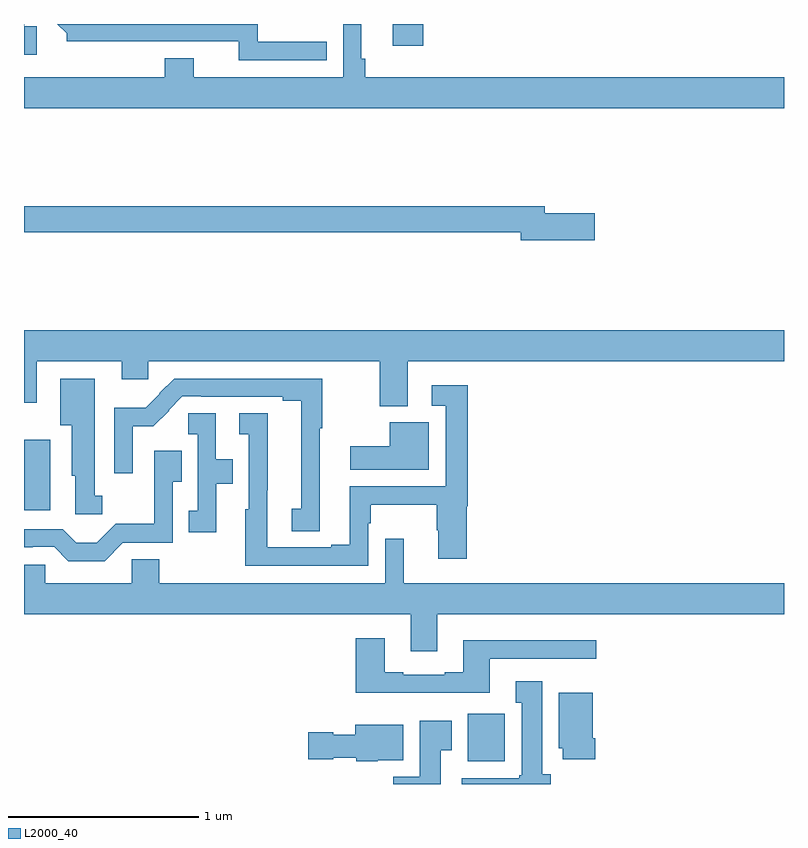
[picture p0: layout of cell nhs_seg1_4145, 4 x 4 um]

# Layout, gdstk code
import gdstk
lib = gdstk.Library(unit=1e-6, precision=1e-09)
def R(c, l, rs):  # rectangles x0, y0, x1, y1
    for r in rs: c.add(gdstk.rectangle(r[:2], r[2:], *l))
def P(c, l, *ps):  # polygons
    for p in ps: c.add(gdstk.Polygon(p, *l))
L2000_40 = (2000, 40)

nhs_seg1_4145 = lib.new_cell('nhs_seg1_4145')
R(nhs_seg1_4145, L2000_40, [(339.335,524.318,339.531,524.569), (337,525.641,337.138,526.012), (338.942,528.084,339.101,528.199)])
P(nhs_seg1_4145, L2000_40, [(338.594,528.105),(338.23,528.105),(338.23,528.199),(337.176,528.199),(337.224,528.151),(337.224,528.107),(337.658,528.107),(337.658,528.108),(338.131,528.108),(338.131,528.009),(338.594,528.009)],
  [(337.067,528.187),(337.002,528.187),(337.002,528.199),(337,528.199),(337,528.036),(337.067,528.036)],
  [(341,527.92),(338.795,527.92),(338.795,528.016),(338.776,528.016),(338.776,528.199),(338.679,528.199),(338.679,527.92),(337.894,527.92),(337.894,528.019),(337.742,528.019),(337.742,527.92),(337,527.92),(337,527.756),(341,527.756)],
  [(340.003,527.204),(339.742,527.204),(339.742,527.24),(337,527.24),(337,527.104),(339.614,527.104),(339.614,527.062),(340.003,527.062)],
  [(337,526.206),(337.068,526.206),(337.068,526.424),(337.514,526.424),(337.514,526.329),(337.653,526.329),(337.653,526.424),(338.872,526.424),(338.872,526.187),(339.019,526.187),(339.019,526.424),(341,526.424),(341,526.588),(337,526.588)],
  [(337.413,525.717),(337.372,525.717),(337.372,526.333),(337.19,526.333),(337.19,526.088),(337.25,526.088),(337.25,525.822),(337.271,525.822),(337.271,525.618),(337.413,525.618)],
  [(338.557,526.072),(338.569,526.072),(338.569,526.332),(337.79,526.332),(337.712,526.255),(337.715,526.253),(337.642,526.18),(337.476,526.18),(337.476,525.834),(337.572,525.834),(337.572,526.082),(337.681,526.082),(337.764,526.164),(337.761,526.167),(337.833,526.239),(337.933,526.239),(337.933,526.236),(338.363,526.236),(338.363,526.216),(338.459,526.216),(338.459,525.648),(338.409,525.648),(338.409,525.529),(338.557,525.529)],
  [(338.811,525.572),(338.824,525.572),(338.824,525.668),(339.172,525.668),(339.172,525.534),(339.179,525.534),(339.179,525.384),(339.329,525.384),(339.329,525.662),(339.335,525.662),(339.335,526.297),(339.147,526.297),(339.147,526.191),(339.219,526.191),(339.219,525.765),(338.714,525.765),(338.714,525.457),(338.618,525.457),(338.618,525.444),(338.28,525.444),(338.28,525.745),(338.282,525.745),(338.282,526.151),(338.133,526.151),(338.133,526.04),(338.184,526.04),(338.184,525.645),(338.165,525.645),(338.165,525.348),(338.811,525.348)],
  [(338.011,525.778),(338.099,525.778),(338.099,525.907),(338.01,525.907),(338.01,526.151),(337.865,526.151),(337.865,526.04),(337.914,526.04),(337.914,525.638),(337.867,525.638),(337.867,525.525),(338.011,525.525)],
  [(339.13,526.102),(338.924,526.102),(338.924,525.976),(338.718,525.976),(338.718,525.854),(339.13,525.854)],
  [(337.521,525.468),(337.782,525.468),(337.782,525.791),(337.829,525.791),(337.829,525.952),(337.686,525.952),(337.686,525.569),(337.484,525.569),(337.384,525.469),(337.274,525.469),(337.203,525.54),(337,525.54),(337,525.444),(337.046,525.444),(337.046,525.447),(337.158,525.447),(337.234,525.371),(337.424,525.371)],
  [(339.175,525.092),(341,525.092),(341,525.256),(338.999,525.256),(338.999,525.49),(338.901,525.49),(338.901,525.256),(337.713,525.256),(337.713,525.383),(337.566,525.383),(337.566,525.256),(337.113,525.256),(337.113,525.354),(337,525.354),(337,525.092),(339.035,525.092),(339.035,524.898),(339.175,524.898)],
  [(339.451,524.859),(340.012,524.859),(340.012,524.956),(339.311,524.956),(339.311,524.788),(339.215,524.788),(339.215,524.775),(338.995,524.775),(338.995,524.788),(338.899,524.788),(338.899,524.965),(338.747,524.965),(338.747,524.678),(339.451,524.678)],
  [(339.772,524.25),(339.727,524.25),(339.727,524.74),(339.587,524.74),(339.587,524.627),(339.62,524.627),(339.62,524.244),(339.607,524.244),(339.607,524.23),(339.303,524.23),(339.303,524.199),(339.772,524.199)],
  [(340.007,524.44),(339.994,524.44),(339.994,524.68),(339.815,524.68),(339.815,524.388),(339.836,524.388),(339.836,524.328),(340.007,524.328)],
  [(339.193,524.377),(339.25,524.377),(339.25,524.533),(339.083,524.533),(339.083,524.236),(338.944,524.236),(338.944,524.199),(339.193,524.199)],
  [(338.862,524.324),(338.995,524.324),(338.995,524.512),(338.744,524.512),(338.744,524.458),(338.628,524.458),(338.628,524.471),(338.496,524.471),(338.496,524.329),(338.628,524.329),(338.628,524.336),(338.748,524.336),(338.748,524.318),(338.862,524.318)])

lib.write_gds('nhs_seg1_4145.gds')
